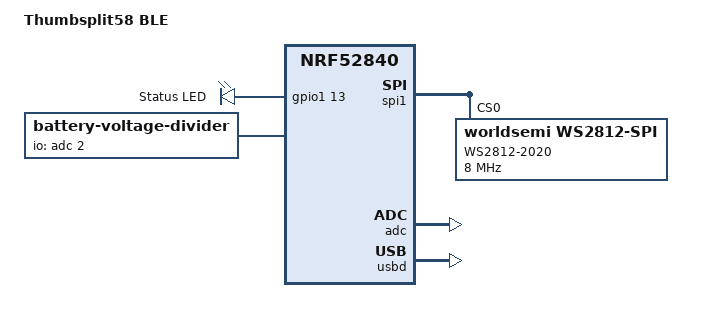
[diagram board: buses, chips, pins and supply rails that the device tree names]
/*
 * Copyright (c) 2021 Kazuyuki Arimatsu
 *
 * SPDX-License-Identifier: MIT
 */

/dts-v1/;
#include <nordic/nrf52840_qiaa.dtsi>
#include <dt-bindings/led/led.h>
#include "connector.dtsi"
#include "kscan.dtsi"

/ {
	model = "Thumbsplit58 BLE";

	chosen {
		zephyr,code-partition = &code_partition;
		zephyr,sram = &sram0;
		zephyr,flash = &flash0;
		zmk,kscan = &default_kscan;
		zmk,matrix_transform = &default_transform;
		zmk,underglow = &led_strip;
	};

	leds {
		compatible = "gpio-leds";
		led_0 {
			gpios = <&gpio1 13 GPIO_ACTIVE_HIGH>;
			label = "Status LED";
		};
	};

	vbatt {
		compatible = "zmk,battery-voltage-divider";
		label = "BATTERY";
		io-channels = <&adc 2>; //P0.04
		output-ohms = <910000>;
		full-ohms = <(910000 + 910000)>;
	};
};

&spi1 {
	compatible = "nordic,nrf-spim";
	/* Cannot be used together with i2c0. */
	status = "okay";

	led_strip: ws2812@0 {
		compatible = "worldsemi,ws2812-spi";
		label = "WS2812-2020";

		/* SPI */
		reg = <0>; /* ignored, but necessary for SPI bindings */
		spi-max-frequency = <8000000>;

		/* WS2812-2020 */
		spi-one-frame = <0x78>;
		spi-zero-frame = <0x60>;
		color-mapping = <LED_COLOR_ID_GREEN LED_COLOR_ID_RED LED_COLOR_ID_BLUE>;
		reset-delay = <300>;
	};
};

&adc {
	status = "okay";
};

&gpiote {
	status = "okay";
};

&gpio0 {
	status = "okay";
};

&gpio1 {
	status = "okay";
};

&i2c0 {
	status = "disabled";
};

&uart0 {
	status = "disabled";
};

&usbd {
	status = "okay";
};

&flash0 {
	/*
	 * For more information, see:
	 * http://docs.zephyrproject.org/latest/devices/dts/flash_partitions.html
	 */
	partitions {
		compatible = "fixed-partitions";
		#address-cells = <1>;
		#size-cells = <1>;

		sd_partition: partition@0 {
			label = "softdevice";
			reg = <0x00000000 0x00026000>;
		};
		code_partition: partition@26000 {
			label = "code_partition";
			reg = <0x00026000 0x000c6000>;
		};

		/*
		 * The flash starting at 0x000ec000 and ending at
		 * 0x000f3fff is reserved for use by the application.
		 */

		/*
		 * Storage partition will be used by FCB/LittleFS/NVS
		 * if enabled.
		 */
		storage_partition: partition@ec000 {
			label = "storage";
			reg = <0x000ec000 0x00008000>;
		};

		boot_partition: partition@f4000 {
			label = "adafruit_boot";
			reg = <0x000f4000 0x0000c000>;
		};
	};
};
